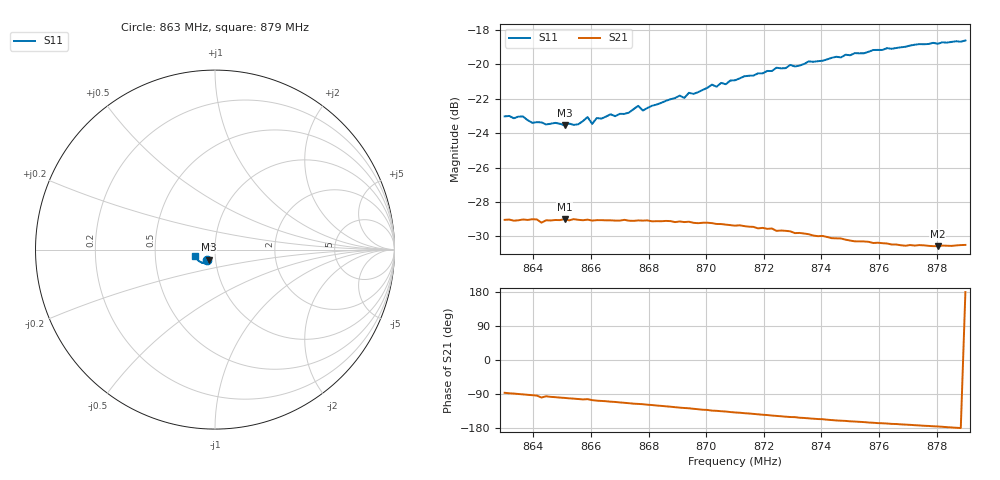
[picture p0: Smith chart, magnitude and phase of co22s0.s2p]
# HZ S RI R 50
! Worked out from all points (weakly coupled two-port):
!   101 points, 863 MHz to 879 MHz, reference 50 ohm
!   highest |S21| = -28.99 dB at 865.08 MHz (marker M1); lowest = -30.6 dB at 878.04 MHz (marker M2)
!   lowest |S11| = -23.6 dB at 865.08 MHz (marker M3), VSWR 1.14, Z = 46.3 - j5.25 ohm
!   |S11| at or under -10 dB: start of sweep to end of sweep
!   S12 and S22 are empty: the file has one direction only
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8.63e8  -0.0438 -0.0554  0.00215 -0.0353  0 0  0 0
8.6364e8  -0.0426 -0.0562  -0.000476 -0.0354  0 0  0 0
8.6412e8  -0.0398 -0.055  -0.00247 -0.0354  0 0  0 0
8.6428e8  -0.0381 -0.0561  -0.00541 -0.0343  0 0  0 0
8.6508e8  -0.0351 -0.0564  -0.00618 -0.035  0 0  0 0
8.6572e8  -0.0349 -0.0588  -0.00855 -0.0342  0 0  0 0
8.6588e8  -0.0386 -0.0588  -0.00815 -0.0344  0 0  0 0
8.6604e8  -0.0332 -0.0583  -0.00962 -0.0338  0 0  0 0
8.662e8  -0.036 -0.0598  -0.0105 -0.0337  0 0  0 0
8.6716e8  -0.0345 -0.0629  -0.0138 -0.0325  0 0  0 0
8.6764e8  -0.0365 -0.0664  -0.0154 -0.0317  0 0  0 0
8.678e8  -0.0351 -0.0644  -0.0158 -0.0314  0 0  0 0
8.6844e8  -0.0376 -0.0675  -0.0181 -0.03  0 0  0 0
8.6908e8  -0.0407 -0.0702  -0.0204 -0.0284  0 0  0 0
8.6924e8  -0.0392 -0.0696  -0.0208 -0.0279  0 0  0 0
8.702e8  -0.046 -0.0742  -0.0238 -0.025  0 0  0 0
8.71e8  -0.0502 -0.0745  -0.0254 -0.0226  0 0  0 0
8.7244e8  -0.0616 -0.0759  -0.0277 -0.0176  0 0  0 0
8.7372e8  -0.0697 -0.0741  -0.0288 -0.0135  0 0  0 0
8.7644e8  -0.0932 -0.0602  -0.0294 -0.00592  0 0  0 0
8.7804e8  -0.1047 -0.0468  -0.0295 -0.00238  0 0  0 0
8.79e8  -0.1114 -0.0366  -0.0299 0.000375  0 0  0 0
